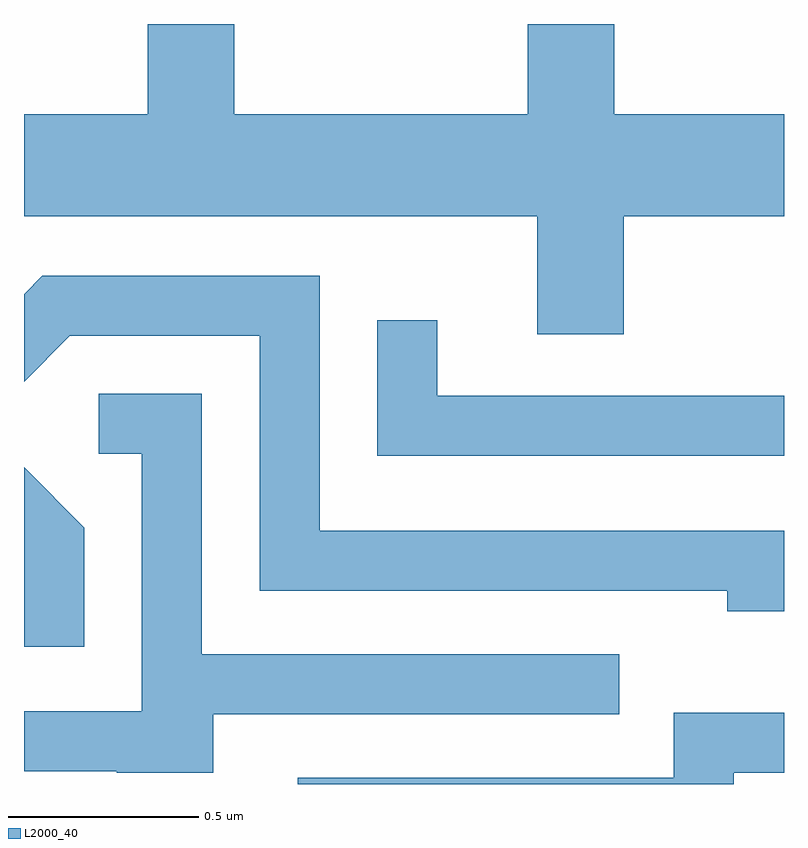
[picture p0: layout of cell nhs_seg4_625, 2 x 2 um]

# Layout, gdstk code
import gdstk
lib = gdstk.Library(unit=1e-6, precision=1e-09)
def P(c, l, *ps):  # polygons
    for p in ps: c.add(gdstk.Polygon(p, *l))
L2000_40 = (2000, 40)

nhs_seg4_625 = lib.new_cell('nhs_seg4_625')
P(nhs_seg4_625, L2000_40, [(191.189,1332.476),(191.611,1332.476),(191.611,1332.744),(191.164,1332.744),(191.164,1332.982),(190.936,1332.982),(190.936,1332.744),(190.164,1332.744),(190.164,1332.982),(189.936,1332.982),(189.936,1332.744),(189.611,1332.744),(189.611,1332.476),(190.961,1332.476),(190.961,1332.166),(191.189,1332.166)],
  [(191.611,1331.649),(190.389,1331.649),(190.389,1332.319),(189.659,1332.319),(189.611,1332.271),(189.611,1332.04),(189.732,1332.161),(190.231,1332.161),(190.231,1331.491),(191.461,1331.491),(191.461,1331.436),(191.611,1331.436)],
  [(191.611,1332.004),(190.699,1332.004),(190.699,1332.203),(190.541,1332.203),(190.541,1331.846),(191.611,1331.846)],
  [(190.109,1331.166),(191.178,1331.166),(191.178,1331.324),(190.079,1331.324),(190.079,1332.009),(189.808,1332.009),(189.808,1331.851),(189.921,1331.851),(189.921,1331.174),(189.611,1331.174),(189.611,1331.016),(189.855,1331.016),(189.855,1331.011),(190.109,1331.011)],
  [(189.769,1331.657),(189.611,1331.815),(189.611,1331.343),(189.769,1331.343)],
  [(191.479,1331.011),(191.611,1331.011),(191.611,1331.169),(191.321,1331.169),(191.321,1330.999),(190.331,1330.999),(190.331,1330.982),(191.479,1330.982)])

lib.write_gds('nhs_seg4_625.gds')
